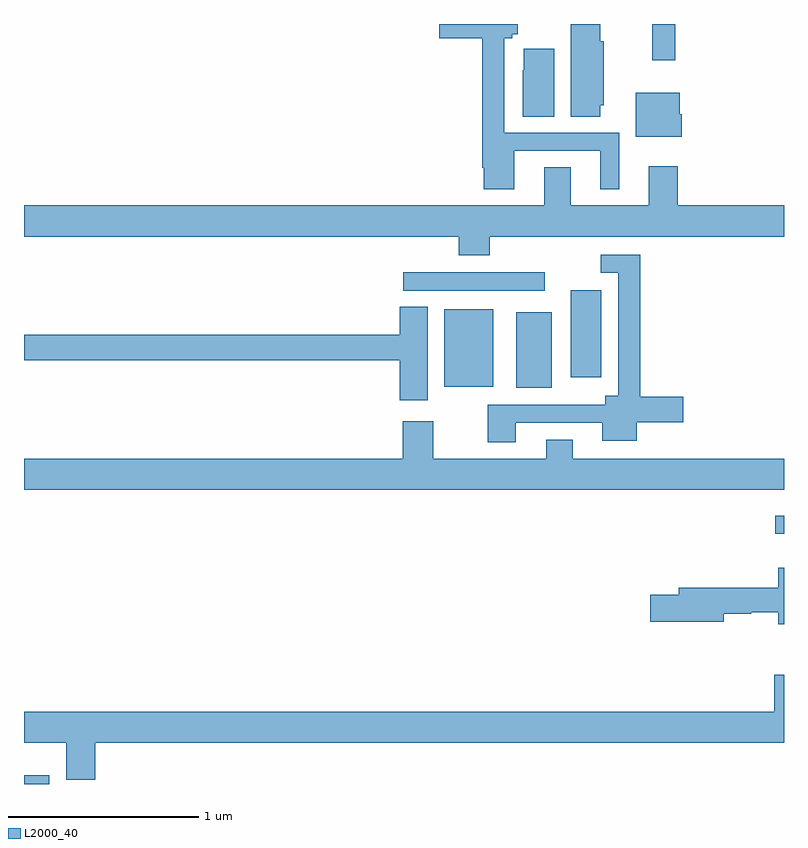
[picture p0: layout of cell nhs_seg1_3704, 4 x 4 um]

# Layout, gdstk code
import gdstk
lib = gdstk.Library(unit=1e-6, precision=1e-09)
def R(c, l, rs):  # rectangles x0, y0, x1, y1
    for r in rs: c.add(gdstk.rectangle(r[:2], r[2:], *l))
def P(c, l, *ps):  # polygons
    for p in ps: c.add(gdstk.Polygon(p, *l))
L2000_40 = (2000, 40)

nhs_seg1_3704 = lib.new_cell('nhs_seg1_3704')
R(nhs_seg1_3704, L2000_40, [(313,534.199,313.132,534.244), (316.953,535.515,317,535.612), (315.59,536.285,315.778,536.683), (315.212,536.291,315.469,536.698), (315.878,536.34,316.039,536.797), (314.997,536.796,315.742,536.892), (316.306,538.008,316.427,538.199)])
P(nhs_seg1_3704, L2000_40, [(316.033,537.771),(316.051,537.771),(316.051,538.107),(316.033,538.107),(316.033,538.199),(315.878,538.199),(315.878,537.712),(316.033,537.712)],
  [(315.58,537.531),(316.034,537.531),(316.034,537.33),(316.132,537.33),(316.132,537.627),(315.528,537.627),(315.528,538.124),(315.57,538.124),(315.57,538.144),(315.599,538.144),(315.599,538.199),(315.186,538.199),(315.186,538.124),(315.412,538.124),(315.412,537.442),(315.419,537.442),(315.419,537.33),(315.58,537.33)],
  [(315.79,538.069),(315.629,538.069),(315.629,537.956),(315.626,537.956),(315.626,537.712),(315.79,537.712)],
  [(316.462,537.723),(316.45,537.723),(316.45,537.838),(316.22,537.838),(316.22,537.605),(316.462,537.605)],
  [(315.452,537.08),(317,537.08),(317,537.244),(316.442,537.244),(316.442,537.451),(316.289,537.451),(316.289,537.244),(315.877,537.244),(315.877,537.446),(315.737,537.446),(315.737,537.244),(313,537.244),(313,537.08),(315.287,537.08),(315.287,536.981),(315.452,536.981)],
  [(315.589,536.1),(316.043,536.1),(316.043,536.006),(316.225,536.006),(316.225,536.102),(316.471,536.102),(316.471,536.237),(316.244,536.237),(316.244,536.985),(316.035,536.985),(316.035,536.889),(316.128,536.889),(316.128,536.242),(316.058,536.242),(316.058,536.196),(315.442,536.196),(315.442,535.998),(315.589,535.998)],
  [(315.124,536.711),(314.978,536.711),(314.978,536.564),(313,536.564),(313,536.428),(314.978,536.428),(314.978,536.22),(315.124,536.22)],
  [(317,535.912),(315.889,535.912),(315.889,536.011),(315.749,536.011),(315.749,535.912),(315.153,535.912),(315.153,536.107),(314.993,536.107),(314.993,535.912),(313,535.912),(313,535.748),(317,535.748)],
  [(317,535.336),(316.97,535.336),(316.97,535.232),(316.445,535.232),(316.445,535.196),(316.296,535.196),(316.296,535.054),(316.684,535.054),(316.684,535.096),(316.827,535.096),(316.827,535.104),(316.97,535.104),(316.97,535.04),(317,535.04)],
  [(313.376,534.416),(317,534.416),(317,534.775),(316.949,534.775),(316.949,534.58),(313,534.58),(313,534.416),(313.223,534.416),(313.223,534.222),(313.376,534.222)])

lib.write_gds('nhs_seg1_3704.gds')
